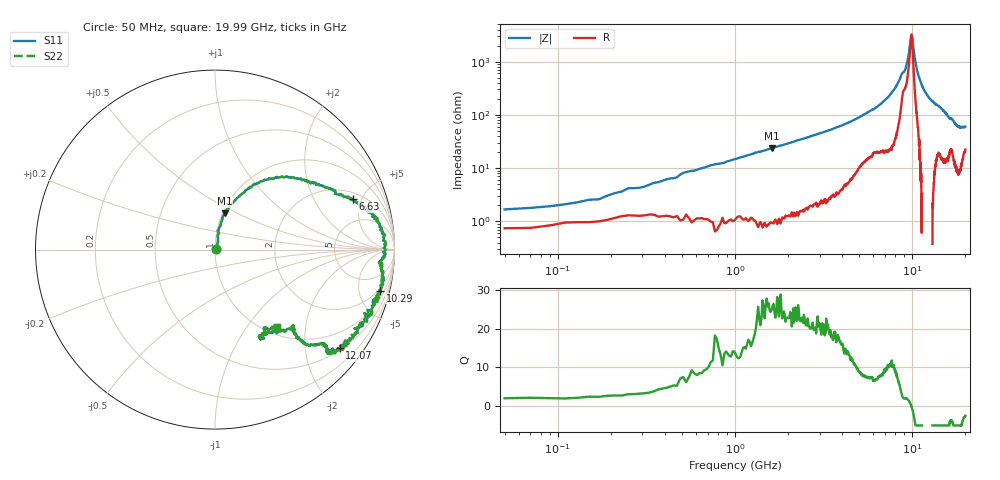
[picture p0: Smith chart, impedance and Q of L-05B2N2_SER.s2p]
! Data Taken on a HP 8720C VNA using a series-through fixture with TRL* de-embedding
#	mhz	s	ma	r	50
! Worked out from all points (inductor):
!   998 points, 50 MHz to 19.99 GHz, reference 50 ohm
!   read as one part in series: L = 2.3 nH near 250 MHz
!   highest Q = 26 at 1.61 GHz (marker M1), where L = 2.34 nH
!   self-resonance near 9.907 GHz
!   S11 on the Smith chart (normalised r, x): 50 MHz: 1.02, +0.01; 6.63 GHz: 2.51, +4.22; 10.29 GHz: 1.73, -7.81; 12.07 GHz: 0.56, -2.79; 19.99 GHz: 1.13, -1.41
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50  0.00846 21.1  0.993 -1.5  0.993 -1.5  0.00846 21.1
250  0.03368 68.8  0.9844 -2.7  0.9844 -2.7  0.03368 68.8
570  0.07863 79.3  0.9851 -5.5  0.9851 -5.5  0.07863 79.3
1130  0.1508 77.2  0.9742 -10.1  0.9742 -10.1  0.1508 77.2
1610  0.209 74.7  0.9621 -14.4  0.9621 -14.4  0.209 74.7
3390  0.4248 58.3  0.8778 -28.8  0.8778 -28.8  0.4248 58.3
4710  0.5874 43.2  0.7699 -40.5  0.7699 -40.5  0.5874 43.2
6630  0.8165 20.0  0.5394 -61.8  0.5394 -61.8  0.8165 20.0
6710  0.8237 19.2  0.5254 -62.8  0.5254 -62.8  0.8237 19.2
7910  0.9243 7.9  0.3174 -76.3  0.3174 -76.3  0.9243 7.9
9110  0.9287 -5.2  0.1344 -68.3  0.1344 -68.3  0.9287 -5.2
9470  0.9417 -7.9  0.08282 -66.6  0.08282 -66.6  0.9417 -7.9
9870  0.9438 -9.2  0.03059 -20.8  0.03059 -20.8  0.9438 -9.2
10030  0.9531 -11.2  0.03384 27.7  0.03384 27.7  0.9531 -11.2
10290  0.9482 -13.9  0.07038 58.9  0.07038 58.9  0.9482 -13.9
10550  0.9523 -16.3  0.1147 65.3  0.1147 65.3  0.9523 -16.3
10930  0.9437 -21.6  0.1781 65.6  0.1781 65.6  0.9437 -21.6
12070  0.8841 -38.2  0.3377 56.0  0.3377 56.0  0.8841 -38.2
13350  0.8373 -42.0  0.4622 45.9  0.4622 45.9  0.8373 -42.0
16670  0.6058 -44.2  0.6868 30.3  0.6868 30.3  0.6058 -44.2
18230  0.5385 -62.7  0.7705 21.6  0.7705 21.6  0.5385 -62.7
19990  0.5544 -51.2  0.7682 15.6  0.7682 15.6  0.5544 -51.2
